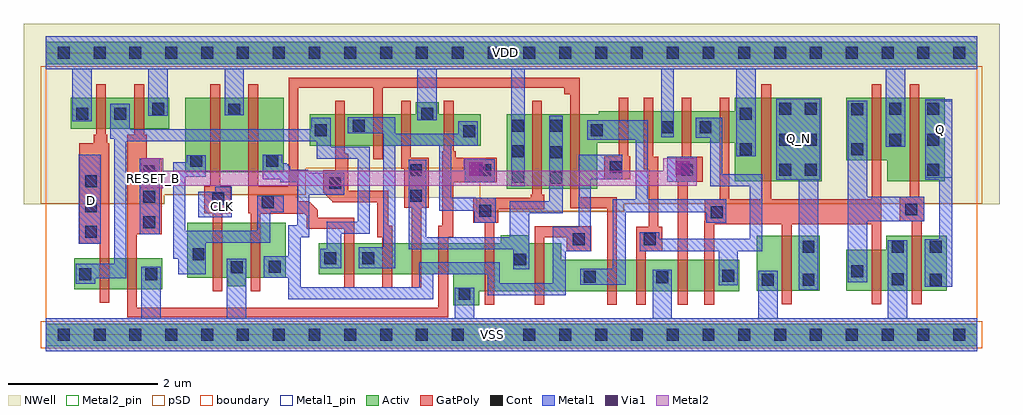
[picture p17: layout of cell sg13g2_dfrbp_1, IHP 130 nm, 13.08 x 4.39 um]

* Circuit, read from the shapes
.subckt sg13g2_dfrbp_1 CLK D Q Q_N RESET_B VDD VSS
XM1 n1 D n2 VSS sg13_lv_nmos w=0.42u l=0.13u
XM2 VSS RESET_B n1 VSS sg13_lv_nmos w=0.42u l=0.13u
XM3 VSS CLK n3 VSS sg13_lv_nmos w=0.74u l=0.13u
XM4 n4 n3 VSS VSS sg13_lv_nmos w=0.74u l=0.13u
XM5 n5 n3 n2 VSS sg13_lv_nmos w=0.42u l=0.13u
XM6 n6 n4 n5 VSS sg13_lv_nmos w=0.42u l=0.13u
XM7 n7 n8 n6 VSS sg13_lv_nmos w=0.42u l=0.13u
XM8 VSS RESET_B n7 VSS sg13_lv_nmos w=0.42u l=0.13u
XM9 n8 n5 VSS VSS sg13_lv_nmos w=0.64u l=0.13u
XM10 n9 n4 n8 VSS sg13_lv_nmos w=0.64u l=0.13u
XM11 n10 n3 n9 VSS sg13_lv_nmos w=0.42u l=0.13u
XM12 VSS n11 n10 VSS sg13_lv_nmos w=0.42u l=0.13u
XM13 n12 RESET_B VSS VSS sg13_lv_nmos w=0.42u l=0.13u
XM14 n11 n9 n12 VSS sg13_lv_nmos w=0.42u l=0.13u
XM15 Q_N n9 VSS VSS sg13_lv_nmos w=0.74u l=0.13u
XM16 VSS n9 n13 VSS sg13_lv_nmos w=0.55u l=0.13u
XM17 Q n13 VSS VSS sg13_lv_nmos w=0.74u l=0.13u
XM18 n2 D VDD VDD sg13_lv_pmos w=0.42u l=0.13u
XM19 VDD RESET_B n2 VDD sg13_lv_pmos w=0.42u l=0.13u
XM20 VDD CLK n3 VDD sg13_lv_pmos w=1u l=0.13u
XM21 n4 n3 VDD VDD sg13_lv_pmos w=1u l=0.13u
XM22 n5 n4 n2 VDD sg13_lv_pmos w=0.42u l=0.13u
XM23 n14 n3 n5 VDD sg13_lv_pmos w=0.42u l=0.13u
XM24 VDD n8 n14 VDD sg13_lv_pmos w=0.42u l=0.13u
XM25 n5 RESET_B VDD VDD sg13_lv_pmos w=0.42u l=0.13u
XM26 n8 n5 VDD VDD sg13_lv_pmos w=1u l=0.13u
XM27 n9 n3 n8 VDD sg13_lv_pmos w=1u l=0.13u
XM28 n15 n4 n9 VDD sg13_lv_pmos w=0.42u l=0.13u
XM29 VDD n11 n15 VDD sg13_lv_pmos w=0.42u l=0.13u
XM30 n11 RESET_B VDD VDD sg13_lv_pmos w=0.42u l=0.13u
XM31 VDD n9 n11 VDD sg13_lv_pmos w=0.42u l=0.13u
XM32 Q_N n9 VDD VDD sg13_lv_pmos w=1.12u l=0.13u
XM33 VDD n9 n13 VDD sg13_lv_pmos w=0.84u l=0.13u
XM34 Q n13 VDD VDD sg13_lv_pmos w=1.12u l=0.13u
.ends

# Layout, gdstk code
import gdstk
lib = gdstk.Library(unit=1e-6, precision=1e-09)
def R(c, l, rs):  # rectangles x0, y0, x1, y1
    for r in rs: c.add(gdstk.rectangle(r[:2], r[2:], *l))
def A(c, l, x, y, w, h, nx, ny, dx, dy):  # array of equal rectangles
    R(c, l, [(x+i*dx, y+j*dy, x+i*dx+w, y+j*dy+h) for i in range(nx) for j in range(ny)])
def P(c, l, *ps):  # polygons
    for p in ps: c.add(gdstk.Polygon(p, *l))
Activ = (1, 0)
GatPoly = (5, 0)
Cont = (6, 0)
Metal1 = (8, 0)
Metal1_pin = (8, 2)
Metal2 = (10, 0)
Metal2_pin = (10, 2)
pSD = (14, 0)
Via1 = (19, 0)
NWell = (31, 0)
boundary = (189, 4)

sg13g2_dfrbp_1 = lib.new_cell('sg13g2_dfrbp_1')
R(sg13g2_dfrbp_1, Activ, [(0,-0.15,12.48,0.15), (9.525,0.59,10.37,1.33), (0.38,0.61,1.56,1.03), (1.865,2.18,3.185,3.18), (0.335,2.76,1.655,3.18), (0,3.63,12.48,3.93)])
P(sg13g2_dfrbp_1, Activ, [(12.075,1.33),(11.265,1.33),(11.265,1.14),(10.725,1.14),(10.725,0.59),(12.075,0.59)],
  [(12.045,3.18),(10.725,3.18),(10.725,2.34),(11.275,2.34),(11.275,2.06),(12.045,2.06)],
  [(10.4,3.18),(9.23,3.18),(9.23,2.995),(7.41,2.995),(7.41,2.955),(6.175,2.955),(6.175,1.955),(7.39,1.955),(7.39,2.575),(9.23,2.575),(9.23,2.06),(10.4,2.06)],
  [(9.295,1.005),(6.91,1.005),(6.91,1.225),(6.48,1.225),(6.48,1.335),(6.095,1.335),(6.095,1.225),(5.71,1.225),(5.71,1.23),(3.66,1.23),(3.66,0.81),(5.46,0.81),(5.46,0.395),(5.805,0.395),(5.805,0.585),(9.295,0.585)],
  [(5.83,2.955),(5.265,2.955),(5.265,3.115),(4.96,3.115),(4.96,2.955),(3.535,2.955),(3.535,2.535),(5.83,2.535)],
  [(3.215,1.505),(1.895,1.505),(1.895,0.765),(2.435,0.765),(2.435,0.65),(2.675,0.65),(2.675,0.765),(3.215,0.765)])
P(sg13g2_dfrbp_1, GatPoly, [(11.77,1.85),(11.705,1.85),(11.705,3.36),(11.575,3.36),(11.575,1.85),(11.44,1.85),(11.44,1.52),(11.605,1.52),(11.605,0.41),(11.735,0.41),(11.735,1.52),(11.77,1.52)],
  [(11.195,3.36),(11.065,3.36),(11.065,1.815),(9.72,1.815),(9.72,3.36),(9.59,3.36),(9.59,1.815),(9.16,1.815),(9.16,3.175),(9.03,3.175),(9.03,1.815),(8.83,1.815),(8.83,1.53),(8.825,1.53),(8.825,0.405),(8.955,0.405),(8.955,1.485),(9.865,1.485),(9.865,0.41),(9.995,0.41),(9.995,1.485),(11.065,1.485),(11.065,0.41),(11.195,0.41)],
  [(8.8,2.385),(8.65,2.385),(8.65,3.175),(8.52,3.175),(8.52,2.385),(8.445,2.385),(8.445,2.055),(8.47,2.055),(8.47,0.405),(8.6,0.405),(8.6,2.055),(8.8,2.055)],
  [(8.26,1.45),(8.21,1.45),(8.21,2.39),(8.14,2.39),(8.14,3.175),(8.01,3.175),(8.01,2.22),(8.08,2.22),(8.08,1.45),(7.91,1.45),(7.91,0.405),(8.04,0.405),(8.04,1.12),(8.26,1.12)],
  [(7.83,2.395),(7.805,2.395),(7.805,3.175),(7.675,3.175),(7.675,2.395),(7.485,2.395),(7.485,2.085),(7.83,2.085)],
  [(7.65,1.845),(7.155,1.845),(7.155,3.445),(3.255,3.445),(3.255,1.995),(2.845,1.995),(2.845,3.36),(2.715,3.36),(2.715,1.63),(2.745,1.63),(2.745,0.585),(2.875,0.585),(2.875,1.625),(3.46,1.625),(3.46,1.62),(3.475,1.62),(3.475,1.61),(3.485,1.61),(3.485,1.6),(3.495,1.6),(3.495,1.42),(4,1.42),(4,0.63),(4.13,0.63),(4.13,1.57),(3.645,1.57),(3.645,1.68),(3.63,1.68),(3.63,1.69),(3.62,1.69),(3.62,1.7),(3.61,1.7),(3.61,1.71),(3.6,1.71),(3.6,1.72),(3.59,1.72),(3.59,1.73),(3.58,1.73),(3.58,1.74),(3.57,1.74),(3.57,1.75),(3.56,1.75),(3.56,1.76),(3.55,1.76),(3.55,1.77),(3.54,1.77),(3.54,1.78),(3.53,1.78),(3.53,1.79),(3.385,1.79),(3.385,3.315),(4.385,3.315),(4.385,2.355),(4.515,2.355),(4.515,3.315),(6.95,3.315),(6.95,3.225),(7.025,3.225),(7.025,1.695),(7.52,1.695),(7.52,0.405),(7.65,0.405)],
  [(7.31,1.455),(6.55,1.455),(6.55,0.405),(6.68,0.405),(6.68,1.305),(6.98,1.305),(6.98,1.12),(7.31,1.12)],
  [(6.68,1.88),(6.645,1.88),(6.645,3.135),(6.515,3.135),(6.515,1.88),(6.5,1.88),(6.5,1.835),(5.73,1.835),(5.73,1.505),(5.88,1.505),(5.88,0.405),(6.01,0.405),(6.01,1.505),(6.06,1.505),(6.06,1.685),(6.68,1.685)],
  [(6.04,2.375),(5.49,2.375),(5.49,2.46),(5.465,2.46),(5.465,3.135),(5.335,3.135),(5.335,2.46),(5.31,2.46),(5.31,1.46),(5.26,1.46),(5.26,0.365),(1.22,0.365),(1.22,1.35),(1.555,1.35),(1.555,2.36),(1.35,2.36),(1.35,2.685),(1.315,2.685),(1.315,3.36),(1.185,3.36),(1.185,2.685),(1.09,2.685),(1.09,0.235),(5.39,0.235),(5.39,1.31),(5.46,1.31),(5.46,2.045),(6.04,2.045)],
  [(5.13,2.375),(4.89,2.375),(4.89,3.135),(4.76,3.135),(4.76,2.225),(4.8,2.225),(4.8,1.705),(4.9,1.705),(4.9,0.63),(5.03,0.63),(5.03,1.705),(5.13,1.705)],
  [(4.64,1.46),(4.59,1.46),(4.59,1.93),(4.05,1.93),(4.05,2.43),(4.005,2.43),(4.005,3.135),(3.875,3.135),(3.875,2.205),(3.72,2.205),(3.72,1.905),(3.73,1.905),(3.73,1.895),(3.74,1.895),(3.74,1.885),(3.75,1.885),(3.75,1.875),(3.76,1.875),(3.76,1.865),(3.77,1.865),(3.77,1.855),(3.78,1.855),(3.78,1.845),(3.79,1.845),(3.79,1.835),(3.8,1.835),(3.8,1.825),(3.81,1.825),(3.81,1.815),(3.82,1.815),(3.82,1.805),(3.83,1.805),(3.83,1.795),(3.84,1.795),(3.84,1.78),(4.44,1.78),(4.44,1.31),(4.51,1.31),(4.51,0.63),(4.64,0.63)],
  [(2.48,1.995),(2.335,1.995),(2.335,3.36),(2.205,3.36),(2.205,1.995),(2.125,1.995),(2.125,1.63),(2.235,1.63),(2.235,0.585),(2.365,0.585),(2.365,1.63),(2.48,1.63)],
  [(0.85,2.57),(0.82,2.57),(0.82,2.685),(0.805,2.685),(0.805,3.36),(0.675,3.36),(0.675,2.685),(0.64,2.685),(0.64,2.57),(0.445,2.57),(0.445,1.22),(0.72,1.22),(0.72,0.43),(0.85,0.43)])
A(sg13g2_dfrbp_1, Cont, 0.16, -0.08, 0.16, 0.16, 26, 2, 0.48, 3.78)
A(sg13g2_dfrbp_1, Cont, 0.525, 1.3, 0.16, 0.16, 1, 3, 0, 0.34)
A(sg13g2_dfrbp_1, Cont, 1.305, 1.43, 0.16, 0.16, 1, 3, 0, 0.34)
R(sg13g2_dfrbp_1, Cont, [(5.53,0.47,5.69,0.63), (9.595,0.66,9.755,0.82), (10.14,0.66,10.3,0.82), (11.845,0.66,12.005,0.82), (11.335,0.665,11.495,0.825), (8.18,0.69,8.34,0.85), (7.21,0.7,7.37,0.86), (9.065,0.715,9.225,0.875), (0.45,0.735,0.61,0.895), (1.33,0.735,1.49,0.895), (10.795,0.775,10.955,0.935), (2.475,0.825,2.635,0.985), (2.985,0.835,3.145,0.995), (6.28,0.93,6.44,1.09), (3.73,0.945,3.89,1.105), (4.24,0.945,4.4,1.105), (1.965,1,2.125,1.16), (10.14,1.1,10.3,1.26), (11.335,1.1,11.495,1.26), (11.845,1.1,12.005,1.26), (7.06,1.2,7.22,1.36), (8.01,1.2,8.17,1.36), (8.91,1.565,9.07,1.725), (5.81,1.585,5.97,1.745), (11.52,1.6,11.68,1.76), (2.895,1.695,3.055,1.855), (2.23,1.745,2.39,1.905), (4.88,1.785,5.04,1.945), (3.8,1.955,3.96,2.115), (6.755,2.025,6.915,2.185), (6.245,2.04,6.405,2.2), (4.88,2.125,5.04,2.285), (5.81,2.125,5.97,2.285), (9.83,2.13,9.99,2.29), (10.17,2.13,10.33,2.29), (11.815,2.13,11.975,2.29), (8.515,2.135,8.675,2.295), (7.555,2.165,7.715,2.325), (1.935,2.25,2.095,2.41), (2.955,2.25,3.115,2.41), (6.755,2.37,6.915,2.53), (6.245,2.38,6.405,2.54), (9.3,2.405,9.46,2.565), (10.795,2.41,10.955,2.57), (9.83,2.535,9.99,2.695), (10.17,2.535,10.33,2.695), (11.305,2.535,11.465,2.695), (11.815,2.535,11.975,2.695), (5.595,2.65,5.755,2.81), (3.605,2.66,3.765,2.82), (7.305,2.665,7.465,2.825), (8.25,2.7,8.41,2.86), (8.76,2.7,8.92,2.86), (4.115,2.725,4.275,2.885), (6.245,2.725,6.405,2.885), (6.755,2.725,6.915,2.885), (0.405,2.885,0.565,3.045), (0.915,2.885,1.075,3.045), (5.03,2.885,5.19,3.045), (9.3,2.885,9.46,3.045), (2.445,2.94,2.605,3.1), (10.795,2.945,10.955,3.105), (1.425,2.95,1.585,3.11), (9.83,2.95,9.99,3.11), (10.17,2.95,10.33,3.11), (11.305,2.95,11.465,3.11), (11.815,2.95,11.975,3.11)])
R(sg13g2_dfrbp_1, Metal1, [(0.44,1.22,0.735,2.415), (1.255,1.35,1.525,2.36), (5.615,2.045,6.015,2.355), (8.325,2.055,8.725,2.385)])
P(sg13g2_dfrbp_1, Metal1, [(12.48,0.22),(11.545,0.22),(11.545,1.27),(11.285,1.27),(11.285,0.22),(9.805,0.22),(9.805,0.86),(9.545,0.86),(9.545,0.22),(8.39,0.22),(8.39,0.875),(8.13,0.875),(8.13,0.22),(5.74,0.22),(5.74,0.63),(5.48,0.63),(5.48,0.22),(2.685,0.22),(2.685,1.02),(2.425,1.02),(2.425,0.22),(1.54,0.22),(1.54,0.91),(1.28,0.91),(1.28,0.22),(0,0.22),(0,-0.22),(12.48,-0.22)],
  [(12.48,4),(0,4),(0,3.56),(0.355,3.56),(0.355,2.86),(0.615,2.86),(0.615,3.56),(1.375,3.56),(1.375,2.935),(1.635,2.935),(1.635,3.56),(2.395,3.56),(2.395,2.94),(2.655,2.94),(2.655,3.56),(4.98,3.56),(4.98,2.875),(5.24,2.875),(5.24,3.56),(6.235,3.56),(6.235,1.99),(6.415,1.99),(6.415,3.56),(8.245,3.56),(8.245,2.65),(8.415,2.65),(8.415,3.56),(9.25,3.56),(9.25,2.395),(9.51,2.395),(9.51,3.56),(11.255,3.56),(11.255,2.52),(11.515,2.52),(11.515,3.56),(12.48,3.56)],
  [(12.145,3.16),(11.785,3.16),(11.785,2.08),(11.975,2.08),(11.975,1.28),(11.775,1.28),(11.775,0.645),(12.145,0.645)],
  [(11.77,1.85),(11.005,1.85),(11.005,3.135),(10.745,3.135),(10.745,0.705),(11.01,0.705),(11.01,1.52),(11.77,1.52)],
  [(10.38,3.165),(9.79,3.165),(9.79,2.08),(10.09,2.08),(10.09,0.605),(10.35,0.605),(10.35,2.08),(10.38,2.08)],
  [(9.6,2.155),(9.065,2.155),(9.065,2.91),(8.71,2.91),(8.71,2.645),(8.905,2.645),(8.905,1.995),(9.435,1.995),(9.435,1.29),(8.22,1.29),(8.22,1.375),(7.96,1.375),(7.96,1.12),(9.015,1.12),(9.015,0.665),(9.275,0.665),(9.275,1.12),(9.6,1.12)],
  [(9.12,1.815),(8.065,1.815),(8.065,2.875),(7.255,2.875),(7.255,2.615),(7.905,2.615),(7.905,1.815),(7.6,1.815),(7.6,0.885),(7.16,0.885),(7.16,0.67),(7.77,0.67),(7.77,1.645),(8.85,1.645),(8.85,1.5),(9.12,1.5)],
  [(7.725,2.415),(7.14,2.415),(7.14,1.45),(6.795,1.45),(6.795,0.695),(6.08,0.695),(6.08,0.97),(5.005,0.97),(5.005,0.635),(3.415,0.635),(3.415,1.31),(3.53,1.31),(3.53,1.875),(4,1.875),(4,2.17),(3.515,2.17),(3.515,2.215),(3.275,2.215),(3.275,2.26),(3.25,2.26),(3.25,2.28),(3.245,2.28),(3.245,2.285),(3.225,2.285),(3.225,2.3),(3.165,2.3),(3.165,2.415),(2.905,2.415),(2.905,2.085),(3.14,2.085),(3.14,2.045),(3.37,2.045),(3.37,1.47),(3.25,1.47),(3.25,1.055),(2.92,1.055),(2.92,0.765),(3.25,0.765),(3.25,0.475),(5.19,0.475),(5.19,0.81),(5.92,0.81),(5.92,0.53),(6.965,0.53),(6.965,1.12),(7.3,1.12),(7.3,2.085),(7.725,2.085)],
  [(6.925,2.935),(6.745,2.935),(6.745,1.79),(6.215,1.79),(6.215,1.31),(5.095,1.31),(5.095,2.345),(4.86,2.345),(4.86,1.15),(6.265,1.15),(6.265,0.88),(6.48,0.88),(6.48,1.63),(6.925,1.63)],
  [(6.03,1.835),(5.435,1.835),(5.435,2.535),(5.785,2.535),(5.785,2.86),(5.525,2.86),(5.525,2.695),(4.68,2.695),(4.68,2.915),(4.045,2.915),(4.045,2.7),(4.52,2.7),(4.52,1.175),(4.195,1.175),(4.195,0.89),(4.68,0.89),(4.68,2.535),(5.275,2.535),(5.275,1.665),(5.74,1.665),(5.74,1.505),(6.03,1.505)],
  [(4.34,2.52),(3.82,2.52),(3.82,2.91),(3.555,2.91),(3.555,2.755),(1.125,2.755),(1.125,3.095),(0.865,3.095),(0.865,2.625),(0.915,2.625),(0.915,0.95),(0.4,0.95),(0.4,0.685),(0.66,0.685),(0.66,0.76),(1.075,0.76),(1.075,2.595),(3.63,2.595),(3.63,2.36),(4.18,2.36),(4.18,1.515),(3.765,1.515),(3.765,1.155),(3.68,1.155),(3.68,0.895),(3.96,0.895),(3.96,1.355),(4.34,1.355)],
  [(3.19,1.865),(2.835,1.865),(2.835,1.395),(1.865,1.395),(1.865,2.12),(2.145,2.12),(2.145,2.41),(1.885,2.41),(1.885,2.315),(1.705,2.315),(1.705,1.02),(1.775,1.02),(1.775,0.815),(2.145,0.815),(2.145,1.235),(3.01,1.235),(3.01,1.645),(3.19,1.645)],
  [(2.49,1.985),(2.27,1.985),(2.27,1.915),(2.045,1.915),(2.045,1.575),(2.49,1.575)])
R(sg13g2_dfrbp_1, Metal1_pin, [(0,-0.22,12.48,0.22), (0.44,1.22,0.735,2.415), (2.045,1.575,2.49,1.915), (9.79,2.08,10.38,3.165), (11.785,2.105,12.145,3.135), (0,3.56,12.48,4)])
P(sg13g2_dfrbp_1, Metal2, [(8.725,2.37),(8.275,2.37),(8.275,2.2),(5.89,2.2),(5.89,2.37),(5.6,2.37),(5.6,2.2),(1.57,2.2),(1.57,2.37),(1.28,2.37),(1.28,1.965),(1.57,1.965),(1.57,2),(8.725,2)])
R(sg13g2_dfrbp_1, Metal2_pin, [(1.28,1.965,1.57,2.37)])
R(sg13g2_dfrbp_1, pSD, [(-0.07,-0.18,12.55,0.18)])
P(sg13g2_dfrbp_1, pSD, [(12.55,3.6),(-0.07,3.6),(-0.07,1.76),(1.585,1.76),(1.585,1.88),(3.485,1.88),(3.485,2.235),(5.815,2.235),(5.815,1.655),(7.745,1.655),(7.745,1.76),(12.55,1.76)])
R(sg13g2_dfrbp_1, Via1, [(1.305,2.015,1.495,2.205), (5.665,2.13,5.855,2.32), (8.44,2.145,8.63,2.335)])
P(sg13g2_dfrbp_1, NWell, [(12.78,4.17),(-0.3,4.17),(-0.3,1.75),(1.595,1.75),(1.595,1.87),(3.345,1.87),(3.345,1.84),(5.765,1.84),(5.765,1.645),(7.755,1.645),(7.755,1.75),(12.78,1.75)])
R(sg13g2_dfrbp_1, boundary, [(0,0,12.48,3.78)])
sg13g2_dfrbp_1.add(gdstk.Label('RESET_B', (1.44,2.1), layer=10, texttype=25))
sg13g2_dfrbp_1.add(gdstk.Label('D', (0.605,1.8), layer=8, texttype=25))
sg13g2_dfrbp_1.add(gdstk.Label('Q_N', (10.08,2.635), layer=8, texttype=25))
sg13g2_dfrbp_1.add(gdstk.Label('CLK', (2.365,1.725), layer=8, texttype=25))
sg13g2_dfrbp_1.add(gdstk.Label('VSS', (5.98,0), layer=8, texttype=25))
sg13g2_dfrbp_1.add(gdstk.Label('VDD', (6.165,3.78), layer=8, texttype=25))
sg13g2_dfrbp_1.add(gdstk.Label('Q', (11.995,2.75), layer=8, texttype=25))

lib.write_gds('sg13g2_dfrbp_1.gds')
